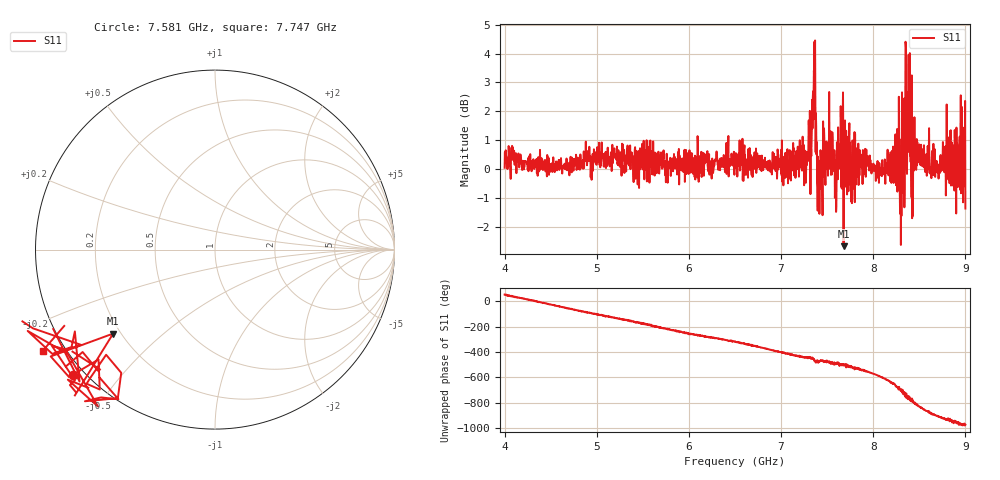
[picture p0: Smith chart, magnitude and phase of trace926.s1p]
! Created with skrf 1.8.0 (http://scikit-rf.org).
# Hz S RI R 50.0
!freq ReS11 ImS11
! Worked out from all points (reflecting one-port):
!   1601 points, 4 GHz to 9 GHz, reference 50 ohm
!   lowest |S11| = -2.7 dB at 7.678 GHz (marker M1), VSWR 6.56, Z = 8.57 - j17.5 ohm
!   phase of S11 starts at 53 deg and turns -1026 deg over the sweep
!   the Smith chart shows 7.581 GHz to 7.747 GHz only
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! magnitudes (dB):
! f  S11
! 4 GHz  0.0
! 4.625 GHz  -0.2
! 5.25 GHz  0.1
! 5.875 GHz  0.2
! 6.5 GHz  0.1
! 7.125 GHz  0.3
! 7.269 GHz  -0.5
! 7.316 GHz  1.1
! 7.356 GHz  3.4
! 7.381 GHz  1.5
! 7.4 GHz  0.4
! 7.416 GHz  -1.5
! 7.538 GHz  1.3
! 7.591 GHz  0.3
! 7.65 GHz  1.5
! 7.678 GHz  -2.7
! 7.75 GHz  0.8
! 8.106 GHz  0.0
! 8.259 GHz  1.4
! 8.312 GHz  2.7
! 8.334 GHz  1.0
! 8.347 GHz  1.8
! 8.375 GHz  0.8
! 8.412 GHz  0.3
! 8.447 GHz  1.8
! 8.722 GHz  -0.1
! 8.972 GHz  0.4
! 9 GHz  -1.4
